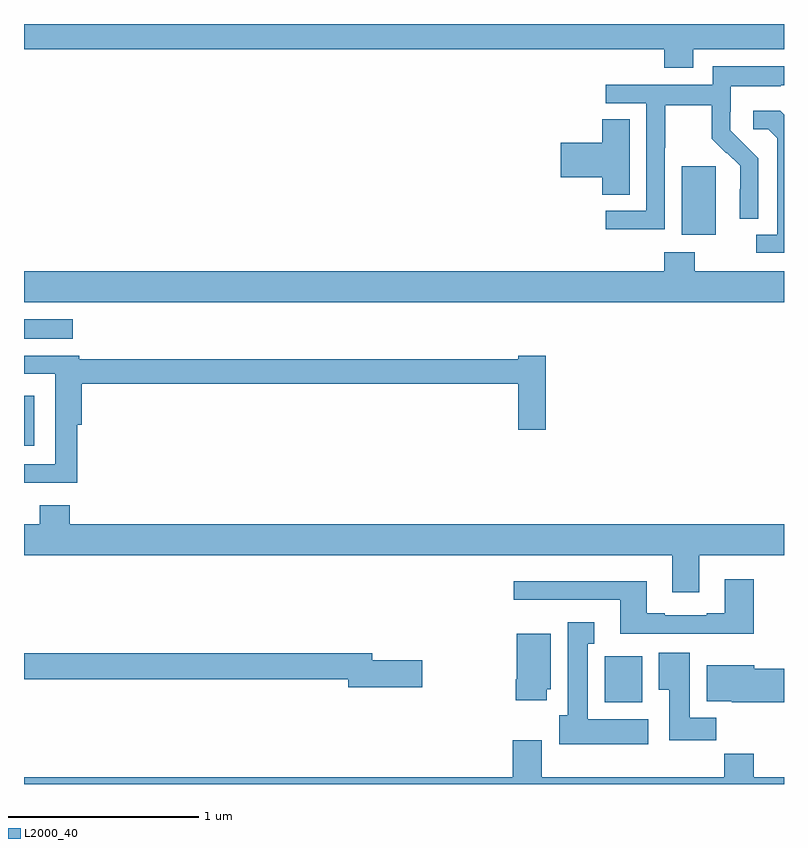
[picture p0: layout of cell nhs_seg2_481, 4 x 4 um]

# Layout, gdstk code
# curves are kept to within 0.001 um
import gdstk
lib = gdstk.Library(unit=1e-6, precision=1e-09)
def R(c, l, rs):  # rectangles x0, y0, x1, y1
    for r in rs: c.add(gdstk.rectangle(r[:2], r[2:], *l))
def P(c, l, *ps):  # polygons
    for p in ps: c.add(gdstk.Polygon(p, *l))
L2000_40 = (2000, 40)

nhs_seg2_481 = lib.new_cell('nhs_seg2_481')
R(nhs_seg2_481, L2000_40, [(138.056,612.23,138.253,612.472), (135,613.58,135.055,613.843), (135,614.144,135.256,614.245), (138.461,614.69,138.64,615.051)])
P(nhs_seg2_481, L2000_40, [(138.523,615.668),(139,615.668),(139,615.8),(135,615.8),(135,615.668),(138.371,615.668),(138.371,615.569),(138.523,615.569)],
  [(138.372,615.148),(138.375,615.148),(138.375,615.372),(138.619,615.372),(138.619,615.197),(138.696,615.12),(138.699,615.123),(138.77,615.053),(138.77,614.93),(138.768,614.93),(138.768,614.776),(138.864,614.776),(138.864,615.094),(138.718,615.242),(138.718,615.339),(138.72,615.339),(138.72,615.473),(138.983,615.473),(138.983,615.477),(139,615.477),(139,615.577),(138.624,615.577),(138.624,615.48),(138.063,615.48),(138.063,615.384),(138.276,615.384),(138.276,614.817),(138.063,614.817),(138.063,614.719),(138.372,614.719)],
  [(139,615.323),(138.98,615.343),(138.837,615.343),(138.837,615.246),(138.918,615.246),(138.965,615.199),(138.965,614.691),(138.855,614.691),(138.855,614.595),(139,614.595)],
  [(138.187,615.299),(138.044,615.299),(138.044,615.176),(137.826,615.176),(137.826,614.993),(138.044,614.993),(138.044,614.902),(138.187,614.902)],
  [(139,614.5),(138.531,614.5),(138.531,614.599),(138.371,614.599),(138.371,614.5),(135,614.5),(135,614.336),(139,614.336)],
  [(135.281,613.691),(135.305,613.691),(135.305,613.906),(137.6,613.906),(137.6,613.665),(137.747,613.665),(137.747,614.053),(137.6,614.053),(137.6,614.035),(135.292,614.035),(135.292,614.055),(135,614.055),(135,613.959),(135.165,613.959),(135.165,613.482),(135,613.482),(135,613.386),(135.281,613.386)],
  [(138.553,613.004),(139,613.004),(139,613.168),(135.242,613.168),(135.242,613.267),(135.082,613.267),(135.082,613.168),(135,613.168),(135,613.004),(138.413,613.004),(138.413,612.81),(138.553,612.81)],
  [(138.842,612.877),(138.689,612.877),(138.689,612.7),(138.593,612.7),(138.593,612.687),(138.373,612.687),(138.373,612.7),(138.277,612.7),(138.277,612.868),(137.577,612.868),(137.577,612.771),(138.137,612.771),(138.137,612.591),(138.601,612.591),(138.601,612.59),(138.842,612.59)],
  [(138.286,612.142),(137.968,612.142),(137.968,612.539),(138.001,612.539),(138.001,612.652),(137.861,612.652),(137.861,612.162),(137.816,612.162),(137.816,612.008),(138.286,612.008)],
  [(137.752,612.3),(137.773,612.3),(137.773,612.592),(137.594,612.592),(137.594,612.352),(137.587,612.352),(137.587,612.24),(137.752,612.24)],
  [(138.644,612.148),(138.505,612.148),(138.505,612.49),(138.341,612.49),(138.341,612.296),(138.395,612.296),(138.395,612.03),(138.644,612.03)],
  [(137.095,612.452),(136.834,612.452),(136.834,612.488),(135,612.488),(135,612.352),(136.706,612.352),(136.706,612.31),(137.095,612.31)],
  [(139,612.407),(138.844,612.407),(138.844,612.424),(138.593,612.424),(138.593,612.236),(138.726,612.236),(138.726,612.23),(139,612.23)],
  [(137.573,612.031),(137.573,611.836),(135,611.836),(135,611.8),(139,611.8),(139,611.836),(138.842,611.836),(138.842,611.96),(138.685,611.96),(138.685,611.836),(137.725,611.836),(137.725,612.031)])

lib.write_gds('nhs_seg2_481.gds')
